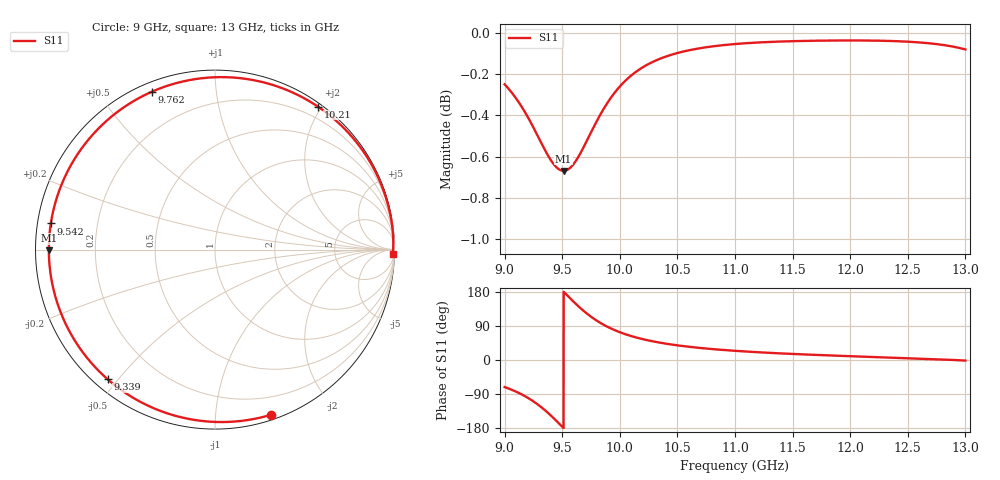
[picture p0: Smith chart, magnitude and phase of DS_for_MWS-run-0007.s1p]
! TOUCHSTONE file generated by CST DESIGN STUDIO
! Date and time: Tue Feb  4 15:41:44 2025
! Project name: C:\Work\MatlabApps\UnitCellOptimizationMatlab\CST\unitcell.cst
! Tree item: Tasks\Sweep1\SPara1\S-Parameters
! Header version: 2024
! Port assignment regex: !\s*Touchstone port\s*([0-9]+)\s*=\s*(CST MWS port|CST DES external port|CST DES block port)\s*(.+)\s* \(\"(.*)\"\)(\s*mode\s*([0-9]+))?.*
! Touchstone port assignment:
! Touchstone port 1 = CST DES external port 1 ("")
# GHz S MA R 50
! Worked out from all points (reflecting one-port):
!   4001 points, 9 GHz to 13 GHz, reference 50 ohm
!   lowest |S11| = -0.7 dB at 9.512 GHz (marker M1), VSWR 25.97, Z = 1.93 - j0.116 ohm
!   phase of S11 starts at -71 deg and turns -290 deg over the sweep
!   S11 on the Smith chart (normalised r, x): 9 GHz: 0.04, -1.39; 9.339 GHz: 0.04, -0.47; 9.542 GHz: 0.04, +0.08; 9.762 GHz: 0.04, +0.68; 10.21 GHz: 0.04, +1.95; 13 GHz: 22, -66
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9  0.9718 -71.4
9.094  0.9646 -82.8
9.199  0.9544 -99.3
9.272  0.946 -113.9
9.339  0.938 -129.6
9.383  0.9332 -141.3
9.428  0.9291 -154.1
9.465  0.9269 -165.2
9.5  0.9259 -176.0
9.512  0.9258 -179.7
9.542  0.9263 171.0
9.595  0.9291 154.9
9.656  0.9348 137.5
9.708  0.9408 124.1
9.762  0.9474 111.6
9.811  0.9532 101.7
9.865  0.959 92.1
10  0.9706 73.3
10.099  0.9766 63.1
10.209  0.9815 54.3
10.343  0.9856 46.0
10.5  0.9889 38.7
10.721  0.9919 31.1
11  0.9939 24.2
11.5  0.9955 16.0
12  0.9959 10.1
12.5  0.9952 4.9
13  0.9909 -1.6
